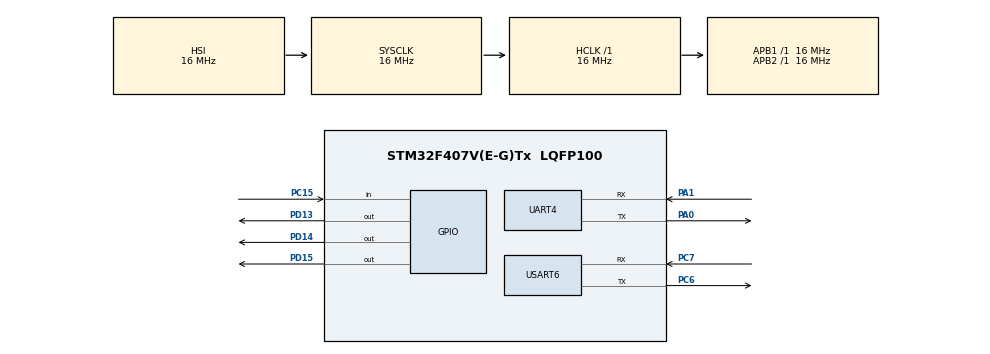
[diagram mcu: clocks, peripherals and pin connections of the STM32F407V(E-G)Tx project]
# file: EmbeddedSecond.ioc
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Mcu.Family=STM32F4
Mcu.Name=STM32F407V(E-G)Tx
Mcu.Package=LQFP100
NVIC.PriorityGroup=NVIC_PRIORITYGROUP_4
NVIC.USART6_IRQn=true\:0\:0\:false\:false\:true\:true\:true
PA0-WKUP.Mode=Asynchronous
PA0-WKUP.Signal=UART4_TX
PA1.Mode=Asynchronous
PA1.Signal=UART4_RX
PA13.Mode=JTAG_5_pins
PA13.Signal=SYS_JTMS-SWDIO
PA14.Mode=JTAG_5_pins
PA14.Signal=SYS_JTCK-SWCLK
PA15.Mode=JTAG_5_pins
PA15.Signal=SYS_JTDI
PB3.Mode=JTAG_5_pins
PB3.Signal=SYS_JTDO-SWO
PB4.Mode=JTAG_5_pins
PB4.Signal=SYS_JTRST
PC15-OSC32_OUT.Signal=GPIO_Input
PC6.Mode=Asynchronous
PC6.Signal=USART6_TX
PC7.Mode=Asynchronous
PC7.Signal=USART6_RX
PD13.Signal=GPIO_Output
PD14.Signal=GPIO_Output
PD15.Signal=GPIO_Output
ProjectManager.HeapSize=0x200
ProjectManager.StackSize=0x400
ProjectManager.TargetToolchain=SW4STM32
RCC.AHBFreq_Value=16000000
RCC.APB1Freq_Value=16000000
RCC.APB2Freq_Value=16000000
RCC.CortexFreq_Value=16000000
RCC.HSE_VALUE=25000000
RCC.HSI_VALUE=16000000
RCC.LSE_VALUE=32768
RCC.SYSCLKFreq_VALUE=16000000
RCC.VCOOutputFreq_Value=192000000
UART4.VirtualMode=Asynchronous
USART6.VirtualMode=VM_ASYNC
board=custom

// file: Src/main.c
/* USER CODE BEGIN Header */
/**
  ******************************************************************************
  * @file           : main.c
  * @brief          : Main program body
  ******************************************************************************
  * @attention
  *
  * <h2><center>&copy; Copyright (c) 2019 STMicroelectronics.
  * All rights reserved.</center></h2>
  *
  * This software component is licensed by ST under BSD 3-Clause license,
  * the "License"; You may not use this file except in compliance with the
  * License. You may obtain a copy of the License at:
  *                        opensource.org/licenses/BSD-3-Clause
  *
  ******************************************************************************
  */
/* USER CODE END Header */

#include "main.h"
#include "usart.h"
#include "gpio.h"

/* USER CODE BEGIN Includes */
#include "solution.h"
#include <stdbool.h>
/* USER CODE END Includes */

void SystemClock_Config(void);

/* USER CODE BEGIN 0 */

state *rx_state = NULL;
unsigned char rx_buffer[255] = {0};
unsigned char rx_symbol[2] = {0};
/**
  * @brief  Rx Transfer completed callbacks.
  * @param  huart  Pointer to a UART_HandleTypeDef structure that contains
  *                the configuration information for the specified UART module.
  * @retval None
  */
void HAL_UART_RxCpltCallback(UART_HandleTypeDef *huart) {
	// send_msg(rx_buffer, huart);
    if (equals((const char *) rx_symbol, "\n")) {
        on_buf(rx_buffer, strlen((const char *) rx_buffer), huart, rx_state);
        for (int i = 0; i < 255; i++) {
        	rx_buffer[i] = 0;
        }
    } else {
        strcat((char *) rx_buffer, (const char *) rx_symbol);
    }
    set_interrupts_on(huart, rx_symbol, rx_state);
}
/* USER CODE END 0 */

int main(void)
{

  /* MCU Configuration--------------------------------------------------------*/

  /* Reset of all peripherals, Initializes the Flash interface and the Systick. */
  HAL_Init();

  /* Configure the system clock */
  SystemClock_Config();

  /* Initialize all configured peripherals */
  MX_GPIO_Init();
  MX_UART4_Init();
  MX_USART6_UART_Init();

  /* Infinite loop */
  /* USER CODE BEGIN WHILE */
    state current_state = {
            .red_timeout = DELAY,
            .last_switch_time = 0,
            .is_interrupt_on = false,
            .current_color = RED,
            .to_blink = 0,
            .prev_color = YELLOW,
            .mode = 1,
            .was_button_pressed = 0
    };
    rx_state = &current_state;

    send_prompt(&huart6);
#pragma clang diagnostic push
#pragma clang diagnostic ignored "-Wmissing-noreturn"
    while (1) {
        check_button(&current_state);
        if (should_set_color(&current_state)) {
            show_next_color(&current_state);
        }
        if (!current_state.is_interrupt_on)
            check_input(&huart6, &current_state, rx_symbol);
        // TODO: do it in interrupts way
        // TODO: prompt
    /* USER CODE END WHILE */

    /* USER CODE BEGIN 3 */
    }
#pragma clang diagnostic pop
  /* USER CODE END 3 */
}

void SystemClock_Config(void)
{
  RCC_OscInitTypeDef RCC_OscInitStruct = {0};
  RCC_ClkInitTypeDef RCC_ClkInitStruct = {0};

  /** Configure the main internal regulator output voltage
  */
  __HAL_RCC_PWR_CLK_ENABLE();
  __HAL_PWR_VOLTAGESCALING_CONFIG(PWR_REGULATOR_VOLTAGE_SCALE1);
  /** Initializes the CPU, AHB and APB busses clocks
  */
  RCC_OscInitStruct.OscillatorType = RCC_OSCILLATORTYPE_HSI;
  RCC_OscInitStruct.HSIState = RCC_HSI_ON;
  RCC_OscInitStruct.HSICalibrationValue = RCC_HSICALIBRATION_DEFAULT;
  RCC_OscInitStruct.PLL.PLLState = RCC_PLL_NONE;
  if (HAL_RCC_OscConfig(&RCC_OscInitStruct) != HAL_OK)
  {
    Error_Handler();
  }
  /** Initializes the CPU, AHB and APB busses clocks
  */
  RCC_ClkInitStruct.ClockType = RCC_CLOCKTYPE_HCLK|RCC_CLOCKTYPE_SYSCLK
                              |RCC_CLOCKTYPE_PCLK1|RCC_CLOCKTYPE_PCLK2;
  RCC_ClkInitStruct.SYSCLKSource = RCC_SYSCLKSOURCE_HSI;
  RCC_ClkInitStruct.AHBCLKDivider = RCC_SYSCLK_DIV1;
  RCC_ClkInitStruct.APB1CLKDivider = RCC_HCLK_DIV1;
  RCC_ClkInitStruct.APB2CLKDivider = RCC_HCLK_DIV1;

  if (HAL_RCC_ClockConfig(&RCC_ClkInitStruct, FLASH_LATENCY_0) != HAL_OK)
  {
    Error_Handler();
  }
}

void Error_Handler(void)
{
}

/************************ (C) COPYRIGHT STMicroelectronics *****END OF FILE****/
